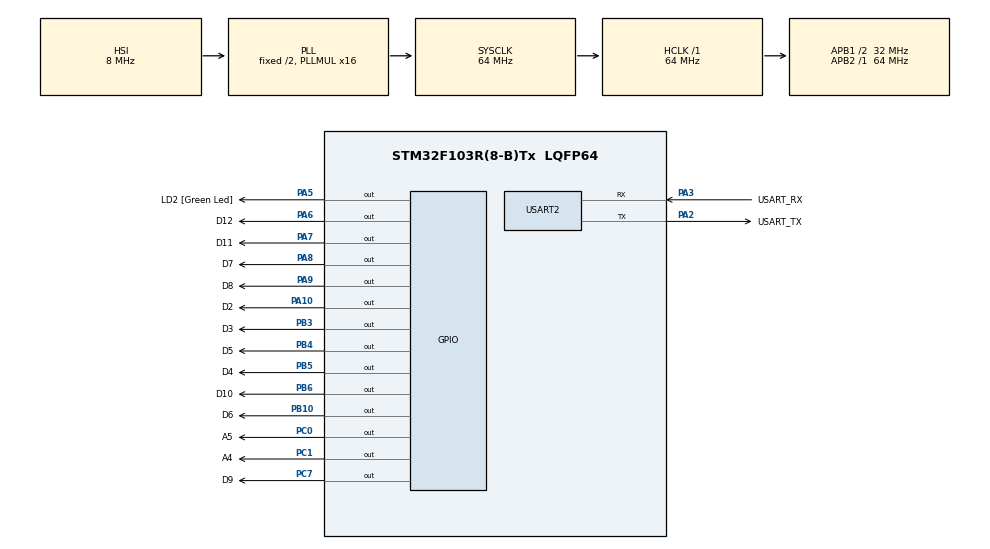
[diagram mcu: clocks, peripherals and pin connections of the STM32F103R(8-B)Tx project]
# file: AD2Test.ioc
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Mcu.Family=STM32F1
Mcu.Name=STM32F103R(8-B)Tx
Mcu.Package=LQFP64
NVIC.EXTI15_10_IRQn=true\:0\:0\:false\:false\:true\:true\:true\:true
NVIC.EXTI9_5_IRQn=true\:0\:0\:false\:false\:true\:true\:true\:true
NVIC.PriorityGroup=NVIC_PRIORITYGROUP_4
PA10.GPIO_Label=D2
PA10.GPIO_ModeDefaultOutputPP=GPIO_MODE_OUTPUT_PP
PA10.GPIO_PuPd=GPIO_NOPULL
PA10.GPIO_Speed=GPIO_SPEED_FREQ_MEDIUM
PA10.Signal=GPIO_Output
PA13.GPIO_Label=TMS
PA13.Mode=Serial_Wire
PA13.Signal=SYS_JTMS-SWDIO
PA14.GPIO_Label=TCK
PA14.Mode=Serial_Wire
PA14.Signal=SYS_JTCK-SWCLK
PA2.GPIO_Label=USART_TX
PA2.GPIO_Mode=GPIO_MODE_AF_PP
PA2.GPIO_PuPd=GPIO_NOPULL
PA2.GPIO_Speed=GPIO_SPEED_FREQ_LOW
PA2.Mode=Asynchronous
PA2.Signal=USART2_TX
PA3.GPIO_Label=USART_RX
PA3.GPIO_Mode=GPIO_MODE_INPUT
PA3.GPIO_PuPd=GPIO_NOPULL
PA3.Mode=Asynchronous
PA3.Signal=USART2_RX
PA5.GPIO_Label=LD2 [Green Led]
PA5.GPIO_ModeDefaultOutputPP=GPIO_MODE_OUTPUT_PP
PA5.GPIO_PuPd=GPIO_NOPULL
PA5.GPIO_Speed=GPIO_SPEED_FREQ_MEDIUM
PA5.Signal=GPIO_Output
PA6.GPIO_Label=D12
PA6.GPIO_ModeDefaultOutputPP=GPIO_MODE_OUTPUT_PP
PA6.GPIO_PuPd=GPIO_NOPULL
PA6.GPIO_Speed=GPIO_SPEED_FREQ_MEDIUM
PA6.Signal=GPIO_Output
PA7.GPIO_Label=D11
PA7.GPIO_ModeDefaultOutputPP=GPIO_MODE_OUTPUT_PP
PA7.GPIO_PuPd=GPIO_NOPULL
PA7.GPIO_Speed=GPIO_SPEED_FREQ_MEDIUM
PA7.Signal=GPIO_Output
PA8.GPIO_Label=D7
PA8.GPIO_ModeDefaultOutputPP=GPIO_MODE_OUTPUT_PP
PA8.GPIO_PuPd=GPIO_NOPULL
PA8.GPIO_Speed=GPIO_SPEED_FREQ_MEDIUM
PA8.Signal=GPIO_Output
PA9.GPIO_Label=D8
PA9.GPIO_ModeDefaultOutputPP=GPIO_MODE_OUTPUT_PP
PA9.GPIO_PuPd=GPIO_NOPULL
PA9.GPIO_Speed=GPIO_SPEED_FREQ_MEDIUM
PA9.Signal=GPIO_Output
PB10.GPIO_Label=D6
PB10.GPIO_ModeDefaultOutputPP=GPIO_MODE_OUTPUT_PP
PB10.GPIO_PuPd=GPIO_NOPULL
PB10.GPIO_Speed=GPIO_SPEED_FREQ_MEDIUM
PB10.Signal=GPIO_Output
PB3.GPIO_Label=D3
PB3.GPIO_ModeDefaultOutputPP=GPIO_MODE_OUTPUT_PP
PB3.GPIO_PuPd=GPIO_NOPULL
PB3.GPIO_Speed=GPIO_SPEED_FREQ_MEDIUM
PB3.Signal=GPIO_Output
PB4.GPIO_Label=D5
PB4.GPIO_ModeDefaultOutputPP=GPIO_MODE_OUTPUT_PP
PB4.GPIO_PuPd=GPIO_NOPULL
PB4.GPIO_Speed=GPIO_SPEED_FREQ_MEDIUM
PB4.Signal=GPIO_Output
PB5.GPIO_Label=D4
PB5.GPIO_ModeDefaultOutputPP=GPIO_MODE_OUTPUT_PP
PB5.GPIO_PuPd=GPIO_NOPULL
PB5.GPIO_Speed=GPIO_SPEED_FREQ_MEDIUM
PB5.Signal=GPIO_Output
PB6.GPIO_Label=D10
PB6.GPIO_ModeDefaultOutputPP=GPIO_MODE_OUTPUT_PP
PB6.GPIO_PuPd=GPIO_NOPULL
PB6.GPIO_Speed=GPIO_SPEED_FREQ_MEDIUM
PB6.Signal=GPIO_Output
PC0.GPIO_Label=A5
PC0.GPIO_ModeDefaultOutputPP=GPIO_MODE_OUTPUT_PP
PC0.GPIO_PuPd=GPIO_NOPULL
PC0.GPIO_Speed=GPIO_SPEED_FREQ_MEDIUM
PC0.Signal=GPIO_Output
PC1.GPIO_Label=A4
PC1.GPIO_ModeDefaultOutputPP=GPIO_MODE_OUTPUT_PP
PC1.GPIO_PuPd=GPIO_NOPULL
PC1.GPIO_Speed=GPIO_SPEED_FREQ_MEDIUM
PC1.Signal=GPIO_Output
PC14-OSC32_IN.Mode=LSE-External-Oscillator
PC14-OSC32_IN.Signal=RCC_OSC32_IN
PC15-OSC32_OUT.Mode=LSE-External-Oscillator
PC15-OSC32_OUT.Signal=RCC_OSC32_OUT
PC7.GPIO_Label=D9
PC7.GPIO_ModeDefaultOutputPP=GPIO_MODE_OUTPUT_PP
PC7.GPIO_PuPd=GPIO_NOPULL
PC7.GPIO_Speed=GPIO_SPEED_FREQ_MEDIUM
PC7.Signal=GPIO_Output
PD0-OSC_IN.Mode=HSE-External-Clock-Source
PD0-OSC_IN.Signal=RCC_OSC_IN
PD1-OSC_OUT.Mode=HSE-External-Clock-Source
PD1-OSC_OUT.Signal=RCC_OSC_OUT
ProjectManager.HeapSize=0x200
ProjectManager.StackSize=0x400
ProjectManager.TargetToolchain=STM32CubeIDE
RCC.AHBFreq_Value=64000000
RCC.APB1CLKDivider=RCC_HCLK_DIV2
RCC.APB1Freq_Value=32000000
RCC.APB1TimFreq_Value=64000000
RCC.APB2Freq_Value=64000000
RCC.APB2TimFreq_Value=64000000
RCC.HCLKFreq_Value=64000000
RCC.PLLMUL=RCC_PLL_MUL16
RCC.RTCClockSelection=RCC_RTCCLKSOURCE_LSE
RCC.SYSCLKFreq_VALUE=64000000
RCC.SYSCLKSource=RCC_SYSCLKSOURCE_PLLCLK
RCC.USBFreq_Value=64000000
USART2.VirtualMode=VM_ASYNC
board=NUCLEO-F103RB

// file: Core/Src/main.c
/* USER CODE BEGIN Header */
/**
  ******************************************************************************
  * @file           : main.c
  * @brief          : Main program body
  ******************************************************************************
  * @attention
  *
  * Copyright (c) 2026 STMicroelectronics.
  * All rights reserved.
  *
  * This software is licensed under terms that can be found in the LICENSE file
  * in the root directory of this software component.
  * If no LICENSE file comes with this software, it is provided AS-IS.
  *
  ******************************************************************************
  */
/* USER CODE END Header */
#include "main.h"

/* USER CODE BEGIN Includes */
#include <string.h>
/* USER CODE END Includes */

/* USER CODE BEGIN PTD */
/* [추상화 계층: HAL] CubeMX 생성 코드 + HAL API로 작성한 예제 */
typedef struct
{
  GPIO_TypeDef *port;
  uint16_t pin; // HAL 핀 마스크 (GPIO_PIN_x = 1 << n)
} GpioPin;
/* USER CODE END PTD */

UART_HandleTypeDef huart2;

/* USER CODE BEGIN PV */
// NUCLEO-F103RB의 D2~D13과 A4/A5 아날로그 헤더 핀을 순서대로 출력한다.
// PA3/PA2는 USART2 RX/TX로 쓰므로 순차 GPIO 출력에서 제외한다 (Arduino D0/D1 자리).
// 단, 보드 기본 설정(SB62/SB63 OFF)에서 PA2/PA3는 D1/D0 핀과 끊겨 있고 ST-LINK 가상 COM에만 연결된다.
// D14/D15(PB9/PB8, I2C)는 사용하지 않는다.
static const GpioPin arduino_pins[] = {
    {D2_GPIO_Port, D2_Pin}, // D2
    {D3_GPIO_Port, D3_Pin}, // D3
    {D4_GPIO_Port, D4_Pin}, // D4
    {D5_GPIO_Port, D5_Pin}, // D5
    {D6_GPIO_Port, D6_Pin}, // D6
    {D7_GPIO_Port, D7_Pin}, // D7
    {D8_GPIO_Port, D8_Pin}, // D8
    {D9_GPIO_Port, D9_Pin}, // D9
    {D10_GPIO_Port, D10_Pin}, // D10
    {D11_GPIO_Port, D11_Pin}, // D11
    {D12_GPIO_Port, D12_Pin}, // D12
    {LD2_GPIO_Port, LD2_Pin}, // LD2
    {A4_GPIO_Port, A4_Pin}, // A4
    {A5_GPIO_Port, A5_Pin}, // A5
};
#define GPIO_PIN_COUNT (sizeof(arduino_pins) / sizeof(arduino_pins[0]))
/* USER CODE END PV */

void SystemClock_Config(void);
static void MX_GPIO_Init(void);
static void MX_USART2_UART_Init(void);

int main(void)
{

  /* MCU Configuration--------------------------------------------------------*/

  /* Reset of all peripherals, Initializes the Flash interface and the Systick. */
  HAL_Init();

  /* Configure the system clock */
  SystemClock_Config();

  /* Initialize all configured peripherals */
  MX_GPIO_Init();
  MX_USART2_UART_Init();

  /* Infinite loop */
  while (1)
  {

    /* USER CODE BEGIN 3 */
    for (uint32_t i = 0; i < GPIO_PIN_COUNT; i++)
    {
      // 현재 핀을 1000ms 켠 뒤 끄고 다음 핀으로 이동한다. (GPIOx_BSRR)
      HAL_GPIO_WritePin(arduino_pins[i].port, arduino_pins[i].pin, GPIO_PIN_SET);
      HAL_Delay(1000); // SysTick ISR(HAL_IncTick)이 증가시키는 uwTick 기반
      HAL_GPIO_WritePin(arduino_pins[i].port, arduino_pins[i].pin, GPIO_PIN_RESET);
    }

    // 순차 출력이 끝날 때마다 PA2(USART2_TX -> ST-LINK 가상 COM, 모포 CN10-35)로 메시지 전송 (폴링: TXE/TC는 HAL이 처리)
    const char msg[] = "Hello, AD2\r\n";
    HAL_UART_Transmit(&huart2, (uint8_t *)msg, strlen(msg), HAL_MAX_DELAY);
  }
  /* USER CODE END 3 */
}

void SystemClock_Config(void)
{
  RCC_OscInitTypeDef RCC_OscInitStruct = {0};
  RCC_ClkInitTypeDef RCC_ClkInitStruct = {0};

  /** Initializes the RCC Oscillators according to the specified parameters
  * in the RCC_OscInitTypeDef structure.
  */
  RCC_OscInitStruct.OscillatorType = RCC_OSCILLATORTYPE_HSI;
  RCC_OscInitStruct.HSIState = RCC_HSI_ON;
  RCC_OscInitStruct.HSICalibrationValue = RCC_HSICALIBRATION_DEFAULT;
  RCC_OscInitStruct.PLL.PLLState = RCC_PLL_ON;
  RCC_OscInitStruct.PLL.PLLSource = RCC_PLLSOURCE_HSI_DIV2;
  RCC_OscInitStruct.PLL.PLLMUL = RCC_PLL_MUL16;
  if (HAL_RCC_OscConfig(&RCC_OscInitStruct) != HAL_OK)
  {
    Error_Handler();
  }

  /** Initializes the CPU, AHB and APB buses clocks
  */
  RCC_ClkInitStruct.ClockType = RCC_CLOCKTYPE_HCLK|RCC_CLOCKTYPE_SYSCLK
                              |RCC_CLOCKTYPE_PCLK1|RCC_CLOCKTYPE_PCLK2;
  RCC_ClkInitStruct.SYSCLKSource = RCC_SYSCLKSOURCE_PLLCLK;
  RCC_ClkInitStruct.AHBCLKDivider = RCC_SYSCLK_DIV1;
  RCC_ClkInitStruct.APB1CLKDivider = RCC_HCLK_DIV2;
  RCC_ClkInitStruct.APB2CLKDivider = RCC_HCLK_DIV1;

  if (HAL_RCC_ClockConfig(&RCC_ClkInitStruct, FLASH_LATENCY_2) != HAL_OK)
  {
    Error_Handler();
  }
}

static void MX_USART2_UART_Init(void)
{

  huart2.Instance = USART2;
  huart2.Init.BaudRate = 115200;
  huart2.Init.WordLength = UART_WORDLENGTH_8B;
  huart2.Init.StopBits = UART_STOPBITS_1;
  huart2.Init.Parity = UART_PARITY_NONE;
  huart2.Init.Mode = UART_MODE_TX_RX;
  huart2.Init.HwFlowCtl = UART_HWCONTROL_NONE;
  huart2.Init.OverSampling = UART_OVERSAMPLING_16;
  if (HAL_UART_Init(&huart2) != HAL_OK)
  {
    Error_Handler();
  }

}

static void MX_GPIO_Init(void)
{
  GPIO_InitTypeDef GPIO_InitStruct = {0};

  /* GPIO Ports Clock Enable */
  __HAL_RCC_GPIOC_CLK_ENABLE();
  __HAL_RCC_GPIOD_CLK_ENABLE();
  __HAL_RCC_GPIOA_CLK_ENABLE();
  __HAL_RCC_GPIOB_CLK_ENABLE();

  /*Configure GPIO pin Output Level */
  HAL_GPIO_WritePin(GPIOC, A5_Pin|A4_Pin|D9_Pin, GPIO_PIN_RESET);

  /*Configure GPIO pin Output Level */
  HAL_GPIO_WritePin(GPIOA, LD2_Pin|D12_Pin|D11_Pin|D7_Pin
                          |D8_Pin|D2_Pin, GPIO_PIN_RESET);

  /*Configure GPIO pin Output Level */
  HAL_GPIO_WritePin(GPIOB, D6_Pin|D3_Pin|D5_Pin|D4_Pin
                          |D10_Pin, GPIO_PIN_RESET);

  /*Configure GPIO pins : A5_Pin A4_Pin D9_Pin */
  GPIO_InitStruct.Pin = A5_Pin|A4_Pin|D9_Pin;
  GPIO_InitStruct.Mode = GPIO_MODE_OUTPUT_PP;
  GPIO_InitStruct.Pull = GPIO_NOPULL;
  GPIO_InitStruct.Speed = GPIO_SPEED_FREQ_MEDIUM;
  HAL_GPIO_Init(GPIOC, &GPIO_InitStruct);

  /*Configure GPIO pins : LD2_Pin D12_Pin D11_Pin D7_Pin
                           D8_Pin D2_Pin */
  GPIO_InitStruct.Pin = LD2_Pin|D12_Pin|D11_Pin|D7_Pin
                          |D8_Pin|D2_Pin;
  GPIO_InitStruct.Mode = GPIO_MODE_OUTPUT_PP;
  GPIO_InitStruct.Pull = GPIO_NOPULL;
  GPIO_InitStruct.Speed = GPIO_SPEED_FREQ_MEDIUM;
  HAL_GPIO_Init(GPIOA, &GPIO_InitStruct);

  /*Configure GPIO pins : D6_Pin D3_Pin D5_Pin D4_Pin
                           D10_Pin */
  GPIO_InitStruct.Pin = D6_Pin|D3_Pin|D5_Pin|D4_Pin
                          |D10_Pin;
  GPIO_InitStruct.Mode = GPIO_MODE_OUTPUT_PP;
  GPIO_InitStruct.Pull = GPIO_NOPULL;
  GPIO_InitStruct.Speed = GPIO_SPEED_FREQ_MEDIUM;
  HAL_GPIO_Init(GPIOB, &GPIO_InitStruct);

}

void Error_Handler(void)
{
  __disable_irq();
  while (1)
  {
  }
}
